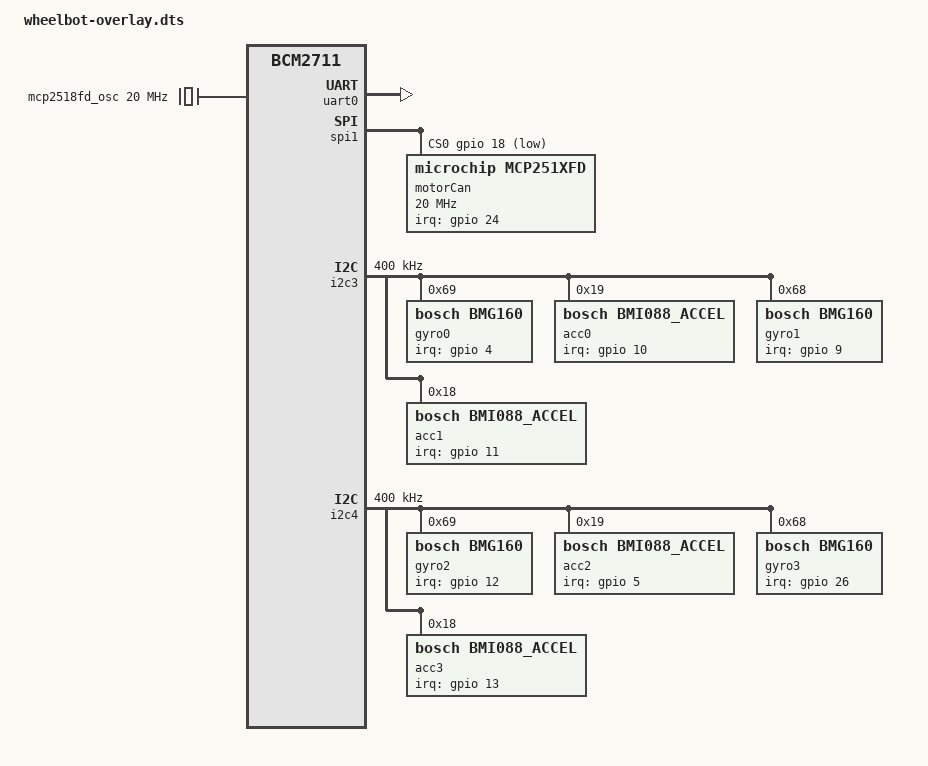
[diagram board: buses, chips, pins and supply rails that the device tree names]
/dts-v1/;
/plugin/;

/ {
    compatible = "brcm,bcm2835", "brcm,bcm2836", "brcm,bcm2708", "brcm,bcm2709", "brcm,bcm2711";

    // disable bluetooth
    fragment@0 {
        target = <&uart1>;
        __overlay__ {
            status = "disabled";
        };
    };

    fragment@1 {
        target = <&uart0>;
        __overlay__ {
            pinctrl-names = "default";
            pinctrl-0 = <&uart0_pins>;
            status = "okay";
        };
    };

    fragment@2 {
        target = <&uart0_pins>;
        __overlay__ {
            brcm,pins;
            brcm,function;
            brcm,pull;
        };
    };

    fragment@3 {
        target-path = "/aliases";
        __overlay__ {
            serial0 = "/soc/uart@7e201000";
            serial1 = "/soc/uart@7e215040";
        };
    };

    fragment@4{
    target = <&spidev0>;
    __overlay__ {
        status = "disabled";
    };
    };

    fragment@5{
    target = <&spidev1>;
    __overlay__ {
        status = "disabled";
    };
    };

    // Interrupts & cs lines
    fragment@6 {
        target = <&gpio>;
        __overlay__ {
            can_int_pins: can_int_pins {
                brcm,pins = <24>;
                brcm,function = <0>; // input
            };

            gyr_int_pins: gyr_int_pins {
                brcm,pins = <4 9 12 26>;
                brcm,function = <0>; // input
            };

            acc_int_pins: acc_int_pins {
                brcm,pins = <5 10 11 13>;
                brcm,function = <0>; // input
            };

            i2c4_pins: i2c4_pins {
                brcm,pins = <6 7>;
                brcm,function = <2>; // alternate function 5, i2c4
            };

            i2c3_pins: i2c3_pins {
                brcm,pins = <2 3>;
                brcm,function = <2>; // alternate function 5, i2c3
            };

            spi1_pins: spi1_pins {
                brcm,pins = <19 20 21>;
                brcm,function = <3>; // alternate function 4, spi1
            };

            spi1_cs_pins: spi1_cs_pins {
                brcm,pins = <18>;
                brcm,function = <1>; // push pull
            };
        };
    };

    fragment@7 {
        target-path = "/clocks";
        __overlay__ {
            // 20M oscillator of mcp2518fd chips
            mcp2518fd_osc: mcp2518fd_osc {
                compatible = "fixed-clock";
                #clock-cells = <0>;
              clock-frequency  = <20000000>;
            };
        };
    };

    fragment@8 {
        target = <&spi1>;
        __overlay__ {
            #address-cells = <1>;
            #size-cells = <0>;

            cs-gpios = <&gpio 18 1>;

            status = "okay";
            motorCan: motorCan@0 {
                reg = <0>;
                pinctrl-names = "default";
                pinctrl-0 = <&spi1_pins &spi1_cs_pins>;
                compatible = "microchip,mcp251xfd";
                spi-max-frequency = <20000000>;
                interrupt-parent = <&gpio>;
                interrupts = <24 8>;
                clocks = <&mcp2518fd_osc>;
            };
        };

    };

    fragment@9 {
        target = <&i2c3>;
        __overlay__ {
            #address-cells = <1>;
            #size-cells = <0>;

            pinctrl-names = "default";
            pinctrl-0 = <&i2c3_pins>;
            clock-frequency = <400000>;

            status = "okay";
            gyro0: gyro0@69 {
                compatible = "bosch,bmg160";
                reg = <0x69>;
                interrupt-parent = <&gpio>;
                interrupts = <4 1>;
                label = "gyro0";
            };

            acc0: acc0@19 {
                compatible = "bosch,bmi088_accel";
                reg = <0x19>;
                interrupt-parent = <&gpio>;
                interrupts = <10 1>;
                label = "acc0";
            };

            gyro1: gyro1@68 {
                compatible = "bosch,bmg160";
                reg = <0x68>;
                interrupt-parent = <&gpio>;
                interrupts = <9 1>;
                label = "gyro1";
            };

            acc1: acc1@18 {
                compatible = "bosch,bmi088_accel";
                reg = <0x18>;
                interrupt-parent = <&gpio>;
                interrupts = <11 1>;
                label = "acc1";
            };
        };

    };

    fragment@10 {
        target = <&i2c4>;
        __overlay__ {

            #address-cells = <1>;
            #size-cells = <0>;

            pinctrl-names = "default";
            pinctrl-0 = <&i2c4_pins>;
            clock-frequency = <400000>;

            status = "okay";

            gyro2: gyro2@69 {
                compatible = "bosch,bmg160";
                reg = <0x69>;
                interrupt-parent = <&gpio>;
                interrupts = <12 1>;
                label = "gyro2";
            };

            acc2: acc2@19 {
                compatible = "bosch,bmi088_accel";
                reg = <0x19>;
                interrupt-parent = <&gpio>;
                interrupts = <5 1>;
                label = "acc2";
            };

            gyro3: gyro3@68 {
                compatible = "bosch,bmg160";
                reg = <0x68>;
                interrupt-parent = <&gpio>;
                interrupts = <26 1>;
                label = "gyro3";
            };

            acc3: acc3@18 {
                compatible = "bosch,bmi088_accel";
                reg = <0x18>;
                interrupt-parent = <&gpio>;
                interrupts = <13 1>;
                label = "acc3";
            };
        };
    };

};
